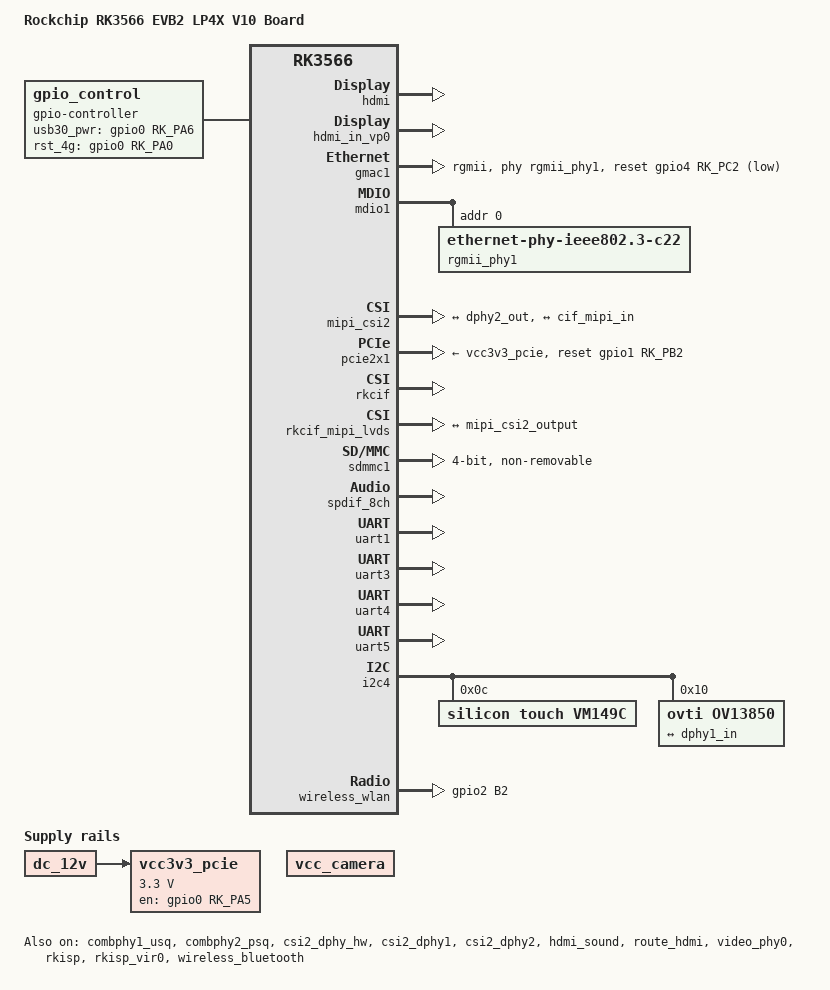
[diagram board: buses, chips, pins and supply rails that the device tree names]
// SPDX-License-Identifier: (GPL-2.0+ OR MIT)
/*
 * Copyright (c) 2020 Rockchip Electronics Co., Ltd.
 *
 */

/dts-v1/;

#include <dt-bindings/gpio/gpio.h>
#include <dt-bindings/display/media-bus-format.h>
#include <dt-bindings/pinctrl/rockchip.h>
#include "rk3566.dtsi"
#include "rk3566-em3566.dtsi"

/ {
	model = "Rockchip RK3566 EVB2 LP4X V10 Board";
	compatible = "rockchip,rk3566-evb2-lp4x-v10", "rockchip,rk3566";

	rk_headset: rk-headset {
		status = "disabled";
		compatible = "rockchip_headset";
		headset_gpio = <&gpio4 RK_PC5 GPIO_ACTIVE_LOW>;
		pinctrl-names = "default";
		pinctrl-0 = <&hp_det>;		
	};

	vcc_camera: vcc-camera-regulator {
		compatible = "regulator-fixed";
		//gpio = <&gpio0 RK_PC1 GPIO_ACTIVE_HIGH>;
		//pinctrl-names = "default";
		//pinctrl-0 = <&camera_pwr>;
		regulator-name = "vcc_camera";
		enable-active-high;
		regulator-always-on;
		regulator-boot-on;
	};

	vcc3v3_pcie: gpio-regulator {
		compatible = "regulator-fixed";
		regulator-name = "vcc3v3_pcie";
		regulator-min-microvolt = <3300000>;
		regulator-max-microvolt = <3300000>;
		enable-active-high;
		gpio = <&gpio0 RK_PA5 GPIO_ACTIVE_HIGH>;	//<&gpio0 RK_PC2 GPIO_ACTIVE_HIGH>;
		startup-delay-us = <5000>;
		vin-supply = <&dc_12v>;
	};
	
	gpio-controller {
		compatible = "gpio_control";
		//host_pwr = <&gpio0 RK_PA3 GPIO_ACTIVE_HIGH>;			//Host power
		usb30_pwr = <&gpio0 RK_PA6 GPIO_ACTIVE_HIGH>;				//usb30 power
		//pcie_pwr = <&gpio0 RK_PA5 GPIO_ACTIVE_HIGH>;				//pcie power
		//logic_fb = <&gpio0 RK_PC0 GPIO_ACTIVE_LOW>;				//logic fb
		rst_4g = <&gpio0 RK_PA0 GPIO_ACTIVE_HIGH>;						//rst_4g
				
		status = "ok";
	};
		
};

&combphy1_usq {
	status = "okay";
};

&combphy2_psq {
	status = "okay";
};

&csi2_dphy_hw {
	status = "okay";
};

&csi2_dphy0 {
	status = "disabled";
	/*
	 * dphy0 only used for full mode,
	 * full mode and split mode are mutually exclusive
	 */
	ports {
		#address-cells = <1>;
		#size-cells = <0>;

		port@0 {
			reg = <0>;
			#address-cells = <1>;
			#size-cells = <0>;

			dphy0_in: endpoint@1 {
				reg = <1>;
				//remote-endpoint = <&gc8034_out>;
				data-lanes = <1 2 3 4>;
			};

			mipi_in_ucam1: endpoint@2 {
				reg = <2>;
				//remote-endpoint = <&ov5695_out>;
				data-lanes = <1 2>;
			};

			mipi_in_ucam2: endpoint@3 {
				reg = <3>;
				//remote-endpoint = <&gc5025_out>;
				data-lanes = <1 2>;
			};
		};

		port@1 {
			reg = <1>;
			#address-cells = <1>;
			#size-cells = <0>;

			dphy0_out: endpoint@1 {
				reg = <1>;
				remote-endpoint = <&isp0_in_dphy0>;
			};
		};
	};
};

&csi2_dphy1 {
	status = "okay";

	/*
	 * dphy1 only used for split mode,
	 * can be used  concurrently  with dphy2
	 * full mode and split mode are mutually exclusive
	 */
	ports {
		#address-cells = <1>;
		#size-cells = <0>;

		port@0 {
			reg = <0>;
			#address-cells = <1>;
			#size-cells = <0>;

			dphy1_in: endpoint@1 {
				reg = <1>;
				remote-endpoint = <&ucam_out0>;		//<&ov5695_out>;
				data-lanes = <1 2>;
			};
		};

		port@1 {
			reg = <1>;
			#address-cells = <1>;
			#size-cells = <0>;

			dphy1_out: endpoint@1 {
				reg = <1>;
				remote-endpoint = <&isp0_in>;
			};
		};
	};
};

&csi2_dphy2 {
	status = "okay";

	/*
	 * dphy2 only used for split mode,
	 * can be used  concurrently  with dphy1
	 * full mode and split mode are mutually exclusive
	 */
	ports {
		#address-cells = <1>;
		#size-cells = <0>;

		port@0 {
			reg = <0>;
			#address-cells = <1>;
			#size-cells = <0>;

			dphy2_in: endpoint@1 {
				reg = <1>;
				//remote-endpoint = <&gc5025_out>;
				data-lanes = <1 2>;
			};
		};

		port@1 {
			reg = <1>;
			#address-cells = <1>;
			#size-cells = <0>;

			dphy2_out: endpoint@1 {
				reg = <1>;
				remote-endpoint = <&mipi_csi2_input>;
			};
		};
	};
};

//use hdmi start
&hdmi {
	status = "okay";
	rockchip,phy-table =
		<92812500  0x8009 0x0000 0x0270>,
		<165000000 0x800b 0x0000 0x026d>,
		<185625000 0x800b 0x0000 0x01ed>,
		<297000000 0x800b 0x0000 0x01ad>,
		<594000000 0x8029 0x0000 0x0088>,
		<000000000 0x0000 0x0000 0x0000>;
};

&hdmi_in_vp0 {
	status = "okay";
};

&hdmi_in_vp1 {
	status = "disabled";
};

&hdmi_sound {
	status = "okay";
};

&route_hdmi {
	status = "okay";
	connect = <&vp0_out_hdmi>;
};

//use hdmi end

/*
 * video_phy0 needs to be enabled
 * when dsi0 is enabled
 */
&dsi0 {
	status = "disabled";	//"okay";
};

&route_dsi0 {
	status = "disabled";	//"okay";
	connect = <&vp1_out_dsi0>;
};

&dsi0_in_vp0 {
	status = "disabled";
};

&dsi0_in_vp1 {
	status = "disabled";	//"okay";
};

&dsi0_panel {
	power-supply = <&vcc3v3_lcd0_n>;
	reset-gpios = <&gpio0 RK_PC7 GPIO_ACTIVE_LOW>;  //GPIO0_C7	//<&gpio3 RK_PA3 GPIO_ACTIVE_LOW>;
	pinctrl-names = "default";
	pinctrl-0 = <&lcd0_rst_gpio>;
};

/*
 * video_phy1 needs to be enabled
 * when dsi1 is enabled
 */
&dsi1 {
	status = "disabled";
};

&dsi1_in_vp0 {
	status = "disabled";
};

&dsi1_in_vp1 {
	status = "disabled";
};

&dsi1_panel {
	power-supply = <&vcc3v3_lcd1_n>;
	reset-gpios = <&gpio3 RK_PA4 GPIO_ACTIVE_LOW>;
	pinctrl-names = "default";
	pinctrl-0 = <&lcd1_rst_gpio>;
};

&video_phy0 {
	status = "okay";
};

&video_phy1 {
	status = "disabled";
};


&gmac1 {
	phy-mode = "rgmii";
	clock_in_out = "input";

	snps,reset-gpio = <&gpio4 RK_PC2 GPIO_ACTIVE_LOW>;	
	snps,reset-active-low;
	/* Reset time is 20ms, 100ms for rtl8211f */
	snps,reset-delays-us = <0 20000 100000>;

	assigned-clocks = <&cru SCLK_GMAC1_RX_TX>, <&cru SCLK_GMAC1>;
	assigned-clock-parents = <&cru SCLK_GMAC1_RGMII_SPEED>, <&gmac1_clkin>;

	pinctrl-names = "default";
	pinctrl-0 = <&gmac1m0_miim
		     &gmac1m0_tx_bus2
		     &gmac1m0_rx_bus2
		     &gmac1m0_rgmii_clk
		     &gmac1m0_rgmii_bus		
         &gmac1m0_clkinout>;		     

	tx_delay = <0x4e>;
	rx_delay = <0x2c>;

	phy-handle = <&rgmii_phy1>;
	status = "okay";
};
&mdio1 {
	rgmii_phy1: phy@0 {
		compatible = "ethernet-phy-ieee802.3-c22";
		reg = <0x0>;
	};
};

&mipi_csi2 {
	status = "okay";

	ports {
		#address-cells = <1>;
		#size-cells = <0>;

		port@0 {
			reg = <0>;
			#address-cells = <1>;
			#size-cells = <0>;

			mipi_csi2_input: endpoint@1 {
				reg = <1>;
				remote-endpoint = <&dphy2_out>;
				data-lanes = <1 2>;
			};
		};

		port@1 {
			reg = <1>;
			#address-cells = <1>;
			#size-cells = <0>;

			mipi_csi2_output: endpoint@0 {
				reg = <0>;
				remote-endpoint = <&cif_mipi_in>;
				data-lanes = <1 2>;
			};
		};
	};
};

&pcie2x1 {
	reset-gpios = <&gpio1 RK_PB2 GPIO_ACTIVE_HIGH>;
	vpcie3v3-supply = <&vcc3v3_pcie>;
	status = "okay";
};

&pinctrl {
/*
	cam {
		camera_pwr: camera-pwr {
			rockchip,pins =
				<0 RK_PC1 RK_FUNC_GPIO &pcfg_pull_none>;
		};
	};
*/

	headphone {
		hp_det: hp-det {
			rockchip,pins = <4 RK_PC5 RK_FUNC_GPIO &pcfg_pull_down>;
		};
	};
	
	sdio-pwrseq {
		wifi_enable_h: wifi-enable-h {
			rockchip,pins = <2 RK_PB1 RK_FUNC_GPIO &pcfg_pull_none>;
		};
	};

	wireless-wlan {
		wifi_host_wake_irq: wifi-host-wake-irq {
			rockchip,pins = <2 RK_PB2 RK_FUNC_GPIO &pcfg_pull_down>;
		};
	};

	wireless-bluetooth {
		uart1_gpios: uart1-gpios {
			rockchip,pins = <2 RK_PB5 RK_FUNC_GPIO &pcfg_pull_none>;
		};
	};

	lcd0 {
		lcd0_rst_gpio: lcd0-rst-gpio {
			rockchip,pins = <0 RK_PC7 RK_FUNC_GPIO &pcfg_pull_up>;
		};
	};

	lcd1 {
		lcd1_rst_gpio: lcd1-rst-gpio {
			rockchip,pins = <3 RK_PA4 RK_FUNC_GPIO &pcfg_pull_none>;
		};
	};
};

&rkcif {
	status = "okay";
};

&rkcif_dvp {
	status = "disabled";

	port {
		//Parallel bus endpoint
		dvp_in_bcam: endpoint {
			//remote-endpoint = <&gc2145_out>;
			bus-width = <8>;
			vsync-active = <0>;
			hsync-active = <1>;
		};
	};
};

&rkcif_mipi_lvds {
	status = "okay";

	port {
		cif_mipi_in: endpoint {
			remote-endpoint = <&mipi_csi2_output>;
			data-lanes = <1 2>;
		};
	};
};

&rkcif_mmu {
	status = "okay";
};

&rkisp {
	status = "okay";
};

&rkisp_mmu {
	status = "okay";
};

&rkisp_vir0 {
	status = "okay";

	port {
		#address-cells = <1>;
		#size-cells = <0>;

		isp0_in: endpoint@0 {
			reg = <0>;
			remote-endpoint = <&dphy1_out>;
		};
		isp0_in_dphy0: endpoint@1 {
			reg = <1>;
			remote-endpoint = <&dphy0_out>;
		};
	};
};
&sdmmc2 {
	status = "disabled";
};

//for wifi
&sdmmc1 {		
	max-frequency = <150000000>;
	no-sd;
	no-mmc;
	bus-width = <4>;
	disable-wp;
	cap-sd-highspeed;
	cap-sdio-irq;
	keep-power-in-suspend;
	mmc-pwrseq = <&sdio_pwrseq>;
	non-removable;
	pinctrl-names = "default";
	pinctrl-0 = <&sdmmc1_bus4 &sdmmc1_cmd &sdmmc1_clk>;
	sd-uhs-sdr104;
	status = "okay";
};

&sdio_pwrseq {
	reset-gpios = <&gpio2 RK_PC6 GPIO_ACTIVE_LOW>;	//<&gpio2 RK_PB1 GPIO_ACTIVE_LOW>;
};

&spdif_8ch {
	status = "okay";
	pinctrl-names = "default";
	pinctrl-0 = <&spdifm2_tx>;		//<&spdifm1_tx>;
};

&uart1 {
	status = "okay";
	pinctrl-names = "default";
	pinctrl-0 = <&uart1m0_xfer &uart1m0_ctsn>;
};

&uart3 {
	status = "okay";
	pinctrl-names = "default";
	pinctrl-0 = <&uart3m0_xfer>;
};

&uart4 {
	status = "okay";
	pinctrl-names = "default";
	pinctrl-0 = <&uart4m0_xfer>;
};

&uart5 {
	status = "okay";
	pinctrl-names = "default";
	pinctrl-0 = <&uart5m1_xfer>;
};


&i2c4 {
	status = "okay";	//"disabled";
	pinctrl-0 = <&i2c4m0_xfer>;

	vm149c: vm149c@0c {
		compatible = "silicon touch,vm149c";
		status = "okay";
		reg = <0x0c>;
		rockchip,camera-module-index = <0>;
		rockchip,camera-module-facing = "back";
	};
		
	ov13850: ov13850@10 {
		compatible = "ovti,ov13850";
		status = "okay";
		reg = <0x10>;
		clocks = <&cru CLK_CIF_OUT>;
		clock-names = "xvclk";
		power-domains = <&power RK3568_PD_VI>;
		
		// conflict with csi-ctl-gpios
		//reset-gpios = <&gpio4 RK_PB0 GPIO_ACTIVE_LOW>;	
		//pwdn-gpios = <&gpio4 RK_PB5 GPIO_ACTIVE_LOW>;
		
		pinctrl-names = "default";
		pinctrl-0 = <&cif_clk &csi_pins>;	
		
		rockchip,camera-module-index = <0>;
		rockchip,camera-module-facing = "back";
		//rockchip,camera-module-name = "TongJu";
		//rockchip,camera-module-lens-name = "CHT842-MD";	
		rockchip,camera-module-name = "CMK-CT0116";
		rockchip,camera-module-lens-name = "Largan-50013A1";			
		lens-focus = <&vm149c>;
				
		port {
			ucam_out0: endpoint {
				remote-endpoint = <&dphy1_in>;
				data-lanes = <1 2>;
			};
		};
	};
	
};

&sata1 {
	status = "disabled";	//"okay";	//
};

&i2c5 {	
	status = "disabled";	//"okay";
};

&vcc3v3_lcd0_n {
	gpio = <&gpio0 RK_PB5 GPIO_ACTIVE_HIGH>;
	enable-active-high;
};

&vcc3v3_lcd1_n {
	//gpio = <&gpio0 RK_PC5 GPIO_ACTIVE_HIGH>;
	//enable-active-high;
};
&wireless_wlan {
	status = "okay";
	pinctrl-names = "default";
	pinctrl-0 = <&wifi_host_wake_irq>;
	WIFI,host_wake_irq = <&gpio2 RK_PB2 GPIO_ACTIVE_HIGH>;
};

&wireless_bluetooth {
	compatible = "bluetooth-platdata";
	clocks = <&pmucru CLK_RTC_32K>;
	clock-names = "ext_clock";		
	//clocks = <&rk809 1>;
	//clock-names = "ext_clock";
	//wifi-bt-power-toggle;
	uart_rts_gpios = <&gpio2 RK_PB5 GPIO_ACTIVE_LOW>;
	pinctrl-names = "default", "rts_gpio";
	pinctrl-0 = <&uart1m0_rtsn>;
	pinctrl-1 = <&uart1_gpios>;
	BT,reset_gpio    = <&gpio2 RK_PB7 GPIO_ACTIVE_HIGH>;
	BT,wake_gpio     = <&gpio2 RK_PC1 GPIO_ACTIVE_HIGH>;
	BT,wake_host_irq = <&gpio2 RK_PC0 GPIO_ACTIVE_HIGH>;
	status = "okay";
};
